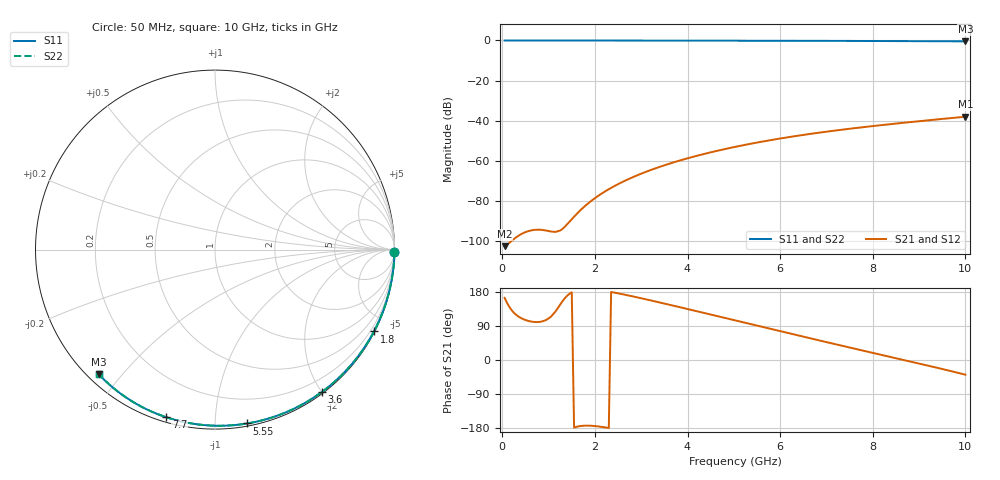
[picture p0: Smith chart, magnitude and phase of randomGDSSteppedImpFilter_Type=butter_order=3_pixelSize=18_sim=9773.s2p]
! freq	dB(S11)	phase(S11)	dB(S12)	phase(S12)
!  dB(S21)	phase(S21)	dB(S22)	phase(S22)
!S-par simulation data
#  GHz  S  DB  R 50
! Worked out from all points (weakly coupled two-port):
!   200 points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, 50 MHz to 10 GHz, reference 50 ohm
!   highest |S21| = -37.95 dB at 10 GHz (marker M1); lowest = -102.3 dB at 50 MHz (marker M2)
!   lowest |S11| = -0.4 dB at 10 GHz (marker M3), VSWR 38.66, Z = 1.54 - j21.8 ohm
!   |S11| at or under -10 dB: nowhere
!   |S22| runs from -0.4 to 0.0 dB; largest |S21 - S12| = 0
!   S11 on the Smith chart (normalised r, x): 50 MHz: open; 1.8 GHz: 0.04, -4.13; 3.6 GHz: 0.02, -1.99; 5.55 GHz: 0.02, -1.20; 7.7 GHz: 0.02, -0.75; 10 GHz: 0.03, -0.44
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0.05  -0.00 -0.8  -102.33 164.0  -102.33 164.0  -0.00 -0.8
0.45  -0.01 -6.9  -95.85 108.0  -95.85 108.0  -0.01 -6.9
0.9  -0.02 -13.7  -94.39 103.4  -94.39 103.4  -0.02 -13.7
1.75  -0.03 -26.5  -83.09 -173.4  -83.09 -173.4  -0.03 -26.5
1.8  -0.03 -27.2  -82.07 -173.2  -82.07 -173.2  -0.03 -27.2
1.9  -0.04 -28.7  -80.19 -173.4  -80.19 -173.4  -0.04 -28.7
2.25  -0.04 -33.9  -74.66 -178.4  -74.66 -178.4  -0.04 -33.9
2.45  -0.05 -36.8  -72.07 177.2  -72.07 177.2  -0.05 -36.8
2.65  -0.05 -39.7  -69.77 172.2  -69.77 172.2  -0.05 -39.7
3  -0.06 -44.7  -66.26 163.0  -66.26 163.0  -0.06 -44.7
3.4  -0.07 -50.4  -62.87 151.8  -62.87 151.8  -0.07 -50.4
3.6  -0.07 -53.2  -61.35 146.1  -61.35 146.1  -0.07 -53.2
3.9  -0.08 -57.4  -59.27 137.5  -59.27 137.5  -0.08 -57.4
4.3  -0.09 -62.9  -56.79 125.9  -56.79 125.9  -0.09 -62.9
5.05  -0.11 -73.0  -52.82 103.9  -52.82 103.9  -0.11 -73.0
5.55  -0.13 -79.5  -50.58 89.3  -50.58 89.3  -0.13 -79.5
6.1  -0.15 -86.5  -48.40 73.2  -48.40 73.2  -0.15 -86.5
6.7  -0.18 -94.0  -46.32 55.8  -46.32 55.8  -0.18 -94.0
7.7  -0.24 -106.2  -43.37 27.2  -43.37 27.2  -0.24 -106.2
8.35  -0.29 -113.9  -41.71 9.0  -41.71 9.0  -0.29 -113.9
9.15  -0.36 -123.2  -39.82 -13.6  -39.82 -13.6  -0.36 -123.2
10  -0.45 -132.9  -37.95 -38.8  -37.95 -38.8  -0.45 -132.9
